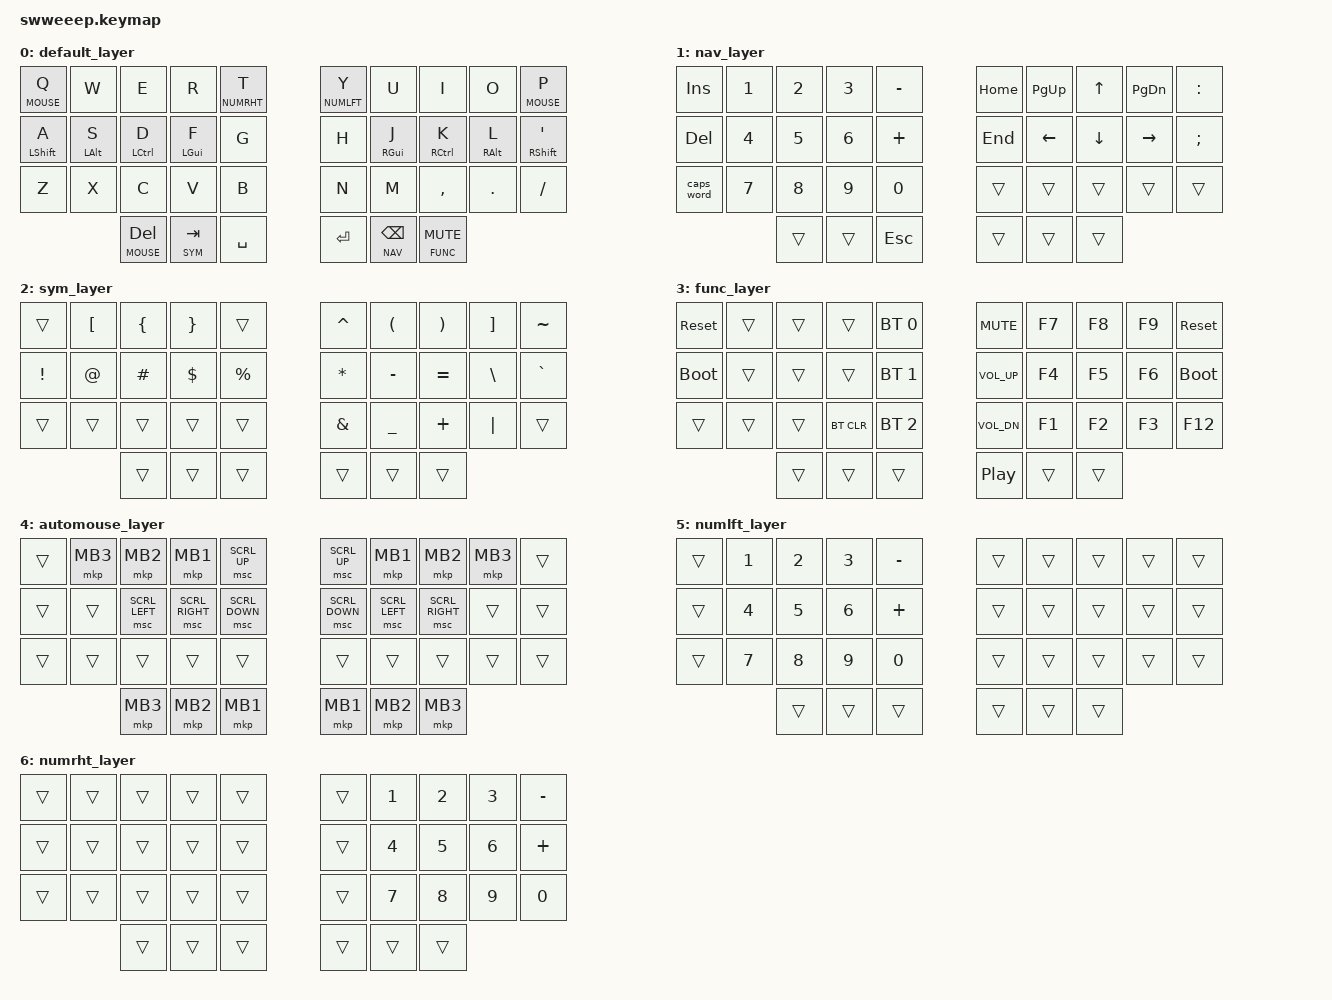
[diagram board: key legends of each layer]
#include <behaviors.dtsi>
#include <dt-bindings/zmk/keys.h>
#include <dt-bindings/zmk/bt.h>
#include <dt-bindings/zmk/ext_power.h>
#include <dt-bindings/zmk/outputs.h>
#include <interfaces/hid-trackball.dtsi>
#include "mouse.dtsi"

#define DEFAULT 0
#define NAV     1
#define SYM     2
#define FUNC    3
#define MOUSE 4
#define NUMLFT  5
#define NUMRHT  6

&caps_word {
    continue-list = <UNDERSCORE MINUS>;
};
&hid_trackball_interface {
    automouse-layer = <4>;
    automouse-layer-timeout-ms = <600>;
    scroll-layers = <7>;
    snipe-layers = <8>;
};
/ {
    combos {
        compatible = "zmk,combos";
        combo_undo {
            timeout-ms = <50>;
            key-positions = <20 21>;
            bindings = <&kp LC(Z)>;
        };
    };
};

/ {

    behaviors {
        hm: homerow_mods {
            compatible = "zmk,behavior-hold-tap";
            #binding-cells = <2>;
            tapping-term-ms = <200>;
            flavor = "tap-preferred";
            bindings = <&kp>, <&kp>;
        };
        hs: homerow_shift {
            compatible = "zmk,behavior-hold-tap";
            #binding-cells = <2>;
            tapping-term-ms = <175>;
            flavor = "balanced";
            bindings = <&kp>, <&kp>;
        };
    };

    keymap {
        compatible = "zmk,keymap";

        default_layer {
            bindings = <
    &lt MOUSE Q        &kp W        &kp E       &kp R         &lt NUMRHT T                                &lt NUMLFT Y  &kp U        &kp I         &kp O       &lt MOUSE P
    &hs LSHIFT A   &hm LALT S   &hm LCTRL D  &hs LGUI F  &kp G                                       &kp H         &hm RGUI J &hm RCTRL K    &hm RALT L  &hs RSHIFT SQT
    &kp Z        &kp X        &kp C       &kp V         &kp B                                       &kp N         &kp M        &kp COMMA     &kp DOT     &kp FSLH
                                          &lt MOUSE DELETE    &lt SYM TAB  &kp SPACE  &kp ENTER   &lt NAV BSPC &lt FUNC C_MUTE
            >;
        };

        nav_layer {
            bindings = <
    &kp INSERT      &kp N1    &kp N2      &kp N3     &kp MINUS                                      &kp HOME     &kp PG_UP       &kp UP        &kp PG_DN      &kp COLON
     &kp DELETE   &kp N4    &kp N5      &kp N6     &kp PLUS                                    &kp END     &kp LEFT       &kp DOWN      &kp RIGHT      &kp SEMI
    &caps_word   &kp N7    &kp N8      &kp N9     &kp N0                                      &trans   &trans       &trans        &trans      &trans
                                       &trans     &trans       &kp ESC       &trans           &trans     &trans
            >;
        };

        sym_layer {
            bindings = <
    &trans     &kp LBKT       &kp LBRC        &kp RBRC         &trans                                   &kp CARET     &kp LPAR          &kp RPAR     &kp RBKT   &kp TILDE
    &kp EXCL    &kp AT     &kp HASH        &kp DLLR         &kp PRCNT                                      &kp ASTRK        &kp MINUS          &kp EQUAL      &kp BSLH    &kp GRAVE
&trans       &trans       &trans          &trans           &trans                          &kp AMPS      &kp UNDER         &kp PLUS     &kp PIPE   &trans
                                              &trans           &trans       &trans        &trans       &trans        &trans
            >;
        };

        func_layer {
            bindings = <
 &sys_reset  &trans &trans  &trans     &bt BT_SEL 0                                   &kp C_MUTE       &kp F7       &kp F8        &kp F9      &sys_reset
    &bootloader &trans  &trans &trans     &bt BT_SEL 1                                   &kp C_VOL_UP     &kp F4       &kp F5        &kp F6      &bootloader
    &trans      &trans  &trans &bt BT_CLR &bt BT_SEL 2                                   &kp C_VOL_DN     &kp F1       &kp F2        &kp F3      &kp F12
                                            &trans  &trans    &trans      &kp C_PLAY_PAUSE  &trans           &trans
            >;
        };

        automouse_layer {
            bindings = <
     &trans       &mkp MB3       &mkp MB2        &mkp MB1            &msc SCRL_UP                                      &msc SCRL_UP         &mkp MB1      &mkp MB2     &mkp MB3    &trans
    &trans       &trans       &msc SCRL_LEFT        &msc SCRL_RIGHT            &msc SCRL_DOWN                                      &msc SCRL_DOWN         &msc SCRL_LEFT    &msc SCRL_RIGHT   &trans   &trans
    &trans       &trans       &trans        &trans            &trans                                      &trans         &trans    &trans           &trans   &trans
                                            &mkp MB3            &mkp MB2        &mkp MB1         &mkp MB1       &mkp MB2           &mkp MB3
            >;
        };

        numlft_layer {
            bindings = <
    &trans       &kp N1       &kp N2    &kp N3   &kp MINUS                                          &trans      &trans      &trans      &trans      &trans
    &trans       &kp N4       &kp N5    &kp N6   &kp PLUS                                           &trans      &trans      &trans      &trans      &trans
    &trans       &kp N7       &kp N8    &kp N9   &kp N0                                                &trans      &trans      &trans      &trans      &trans
                                        &trans      &trans          &trans           &trans          &trans      &trans
            >;
        };

        numrht_layer {
            bindings = <
    &trans       &trans       &trans       &trans        &trans                                      &trans      &kp N1       &kp N2        &kp N3      &kp MINUS
    &trans       &trans       &trans       &trans        &trans                                      &trans      &kp N4       &kp N5        &kp N6      &kp PLUS
    &trans       &trans       &trans       &trans        &trans                                      &trans      &kp N7       &kp N8        &kp N9      &kp N0
                                           &trans        &trans        &trans         &trans         &trans      &trans
            >;
        };
    };
};
